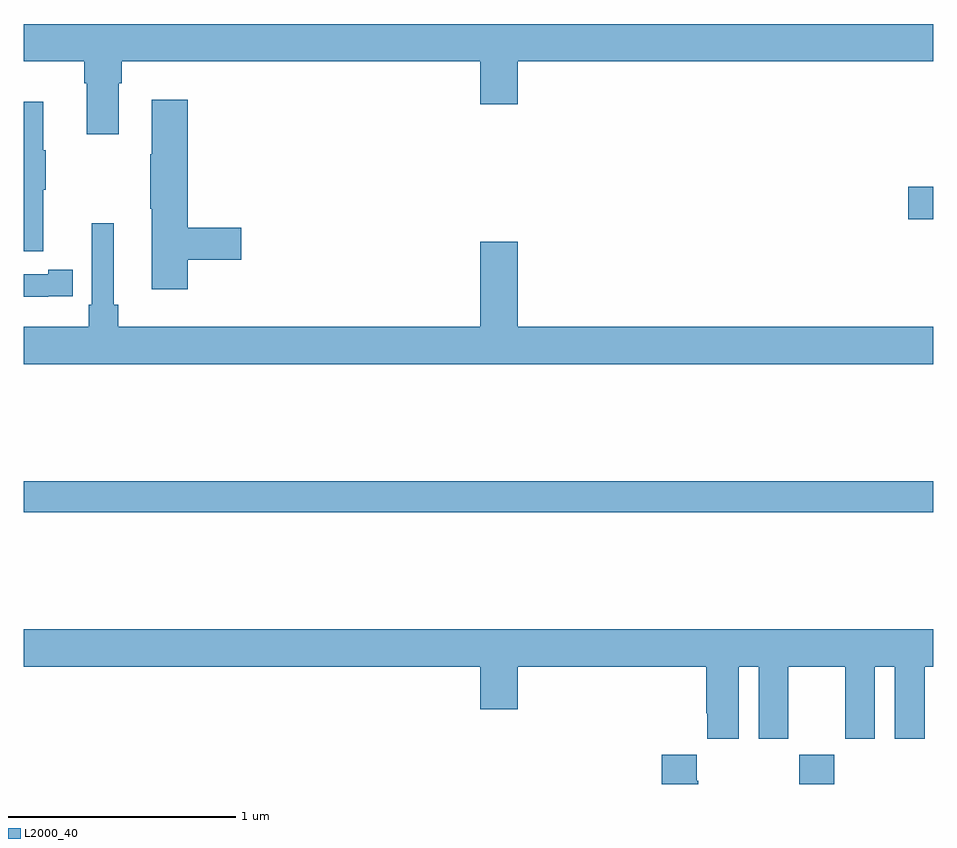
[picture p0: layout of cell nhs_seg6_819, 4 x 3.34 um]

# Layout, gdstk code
import gdstk
lib = gdstk.Library(unit=1e-6, precision=1e-09)
def R(c, l, rs):  # rectangles x0, y0, x1, y1
    for r in rs: c.add(gdstk.rectangle(r[:2], r[2:], *l))
def P(c, l, *ps):  # polygons
    for p in ps: c.add(gdstk.Polygon(p, *l))
L2000_40 = (2000, 40)

nhs_seg6_819 = lib.new_cell('nhs_seg6_819')
R(nhs_seg6_819, L2000_40, [(166.411,933.5,166.566,933.628), (163,934.696,167,934.832), (166.89,935.986,167,936.128)])
P(nhs_seg6_819, L2000_40, [(163.417,936.584),(163.43,936.584),(163.43,936.68),(165.008,936.68),(165.008,936.492),(165.172,936.492),(165.172,936.68),(167,936.68),(167,936.844),(163,936.844),(163,936.68),(163.265,936.68),(163.265,936.584),(163.277,936.584),(163.277,936.36),(163.417,936.36)],
  [(163.721,935.806),(163.957,935.806),(163.957,935.948),(163.721,935.948),(163.721,936.511),(163.562,936.511),(163.562,936.272),(163.555,936.272),(163.555,936.031),(163.562,936.031),(163.562,935.676),(163.721,935.676)],
  [(163.085,936.115),(163.096,936.115),(163.096,936.289),(163.085,936.289),(163.085,936.502),(163,936.502),(163,935.844),(163.085,935.844)],
  [(167,935.512),(165.172,935.512),(165.172,935.887),(165.008,935.887),(165.008,935.512),(163.415,935.512),(163.415,935.608),(163.396,935.608),(163.396,935.968),(163.299,935.968),(163.299,935.608),(163.286,935.608),(163.286,935.512),(163,935.512),(163,935.348),(167,935.348)],
  [(163.106,935.646),(163.214,935.646),(163.214,935.762),(163.106,935.762),(163.106,935.742),(163,935.742),(163,935.645),(163.106,935.645)],
  [(166.144,934.016),(166.232,934.016),(166.232,933.699),(166.363,933.699),(166.363,934.016),(166.613,934.016),(166.613,933.699),(166.744,933.699),(166.744,934.016),(166.832,934.016),(166.832,933.699),(166.963,933.699),(166.963,934.016),(167,934.016),(167,934.18),(163,934.18),(163,934.016),(165.008,934.016),(165.008,933.828),(165.172,933.828),(165.172,934.016),(166.001,934.016),(166.001,933.811),(166.007,933.811),(166.007,933.699),(166.144,933.699)],
  [(165.966,933.515),(165.961,933.515),(165.961,933.628),(165.806,933.628),(165.806,933.5),(165.966,933.5)])

lib.write_gds('nhs_seg6_819.gds')
